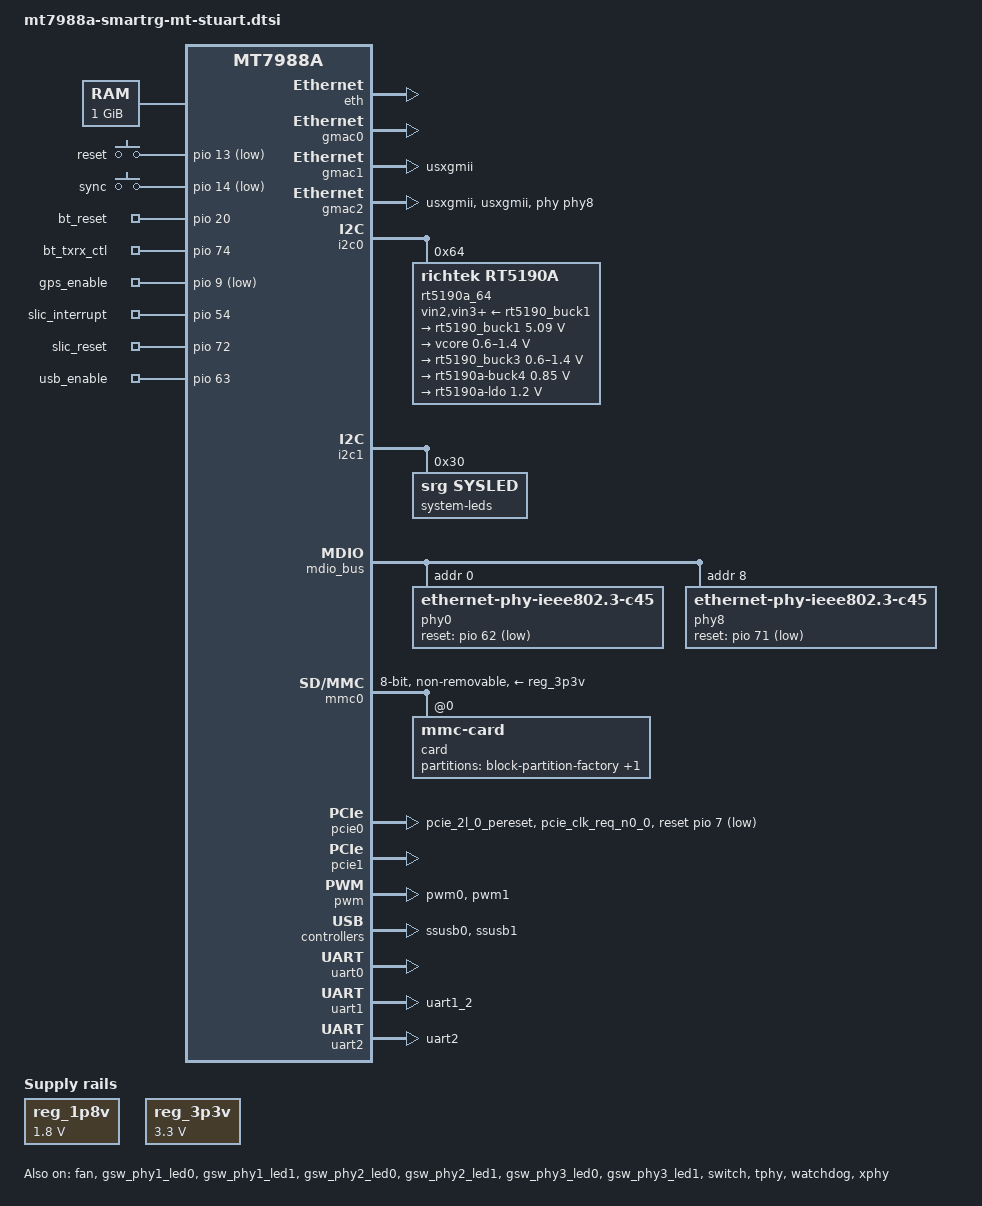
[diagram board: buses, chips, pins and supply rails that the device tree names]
// SPDX-License-Identifier: (GPL-2.0 OR MIT)
/*
 * Copyright (C) 2023 SmartRG Inc.
 * Author: Chad Monroe <chad.monroe@smartrg.com>
 */

/dts-v1/;
#include "mt7988a.dtsi"
#include <dt-bindings/gpio/gpio.h>
#include <dt-bindings/input/input.h>
#include <dt-bindings/leds/common.h>
#include <dt-bindings/pinctrl/mt65xx.h>
#include <dt-bindings/regulator/richtek,rt5190a-regulator.h>

/ {
	aliases {
		serial0 = &uart0;
		label-mac-device = &gmac1;
		led-boot = &led_sys_green;
		led-failsafe = &led_sys_blue;
		led-running = &led_sys_white;
		led-upgrade = &led_sys_red;
	};

	chosen {
		stdout-path = &uart0;
		bootargs = "console=ttyS0,115200n1 loglevel=8 pci=pcie_bus_perf root=PARTLABEL=rootfs";
	};

	memory {
		reg = <0x0 0x40000000 0x0 0x40000000>;
	};

	reserved-memory {
		#address-cells = <2>;
		#size-cells = <2>;
		ranges;

		/delete-node/ramoops@42ff0000;

		bootdata@45000000 {
			no-map;
			reg = <0x0 0x45000000 0x0 0x00001000>;
		};

		ramoops_reserved: ramoops@45001000 {
			no-map;
			compatible = "ramoops";
			reg = <0x0 0x45001000 0x0 0x00140000>;
			ftrace-size = <0x20000>;
			record-size = <0x20000>;
			console-size = <0x20000>;
			pmsg-size = <0x80000>;
		};
	};

	reg_1p8v: regulator-1p8v {
		compatible = "regulator-fixed";
		regulator-name = "fixed-1.8V";
		regulator-min-microvolt = <1800000>;
		regulator-max-microvolt = <1800000>;
		regulator-boot-on;
		regulator-always-on;
	};

	reg_3p3v: regulator-3p3v {
		compatible = "regulator-fixed";
		regulator-name = "fixed-3.3V";
		regulator-min-microvolt = <3300000>;
		regulator-max-microvolt = <3300000>;
		regulator-boot-on;
		regulator-always-on;
	};

	gpio-keys {
		compatible = "gpio-keys";
		pinctrl-names = "default";
		pinctrl-0 = <&button_pins>;

		factory {
			label = "reset";
			linux,code = <KEY_RESTART>;
			gpios = <&pio 13 GPIO_ACTIVE_LOW>;
		};

		wps {
			label = "sync";
			linux,code = <KEY_WPS_BUTTON>;
			gpios = <&pio 14 GPIO_ACTIVE_LOW>;
		};
	};

	gpio-export {
		compatible = "gpio-export";

		bluetooth_reset {
			gpio-export,name = "bt_reset";
			gpio-export,direction_may_change;
			gpios = <&pio 20 GPIO_ACTIVE_HIGH>;
		};

		bluetooth_txrx_ctl {
			gpio-export,name = "bt_txrx_ctl";
			gpio-export,direction_may_change;
			gpios = <&pio 74 GPIO_ACTIVE_HIGH>;
		};

		gps_enable {
			gpio-export,name = "gps_enable";
			gpio-export,output = <1>;
			gpios = <&pio 9 GPIO_ACTIVE_LOW>;
		};

		slic_interrupt {
			gpio-export,name = "slic_interrupt";
			gpio-export,direction_may_change;
			gpios = <&pio 54 GPIO_ACTIVE_HIGH>;
		};

		slic_reset {
			gpio-export,name = "slic_reset";
			gpio-export,output = <0>;
			gpios = <&pio 72 GPIO_ACTIVE_HIGH>;
		};

		usb_enable {
			gpio-export,name = "usb_enable";
			gpio-export,output = <1>;
			gpios = <&pio 63 GPIO_ACTIVE_HIGH>;
		};
	};
};

&cpu0 {
	proc-supply = <&rt5190_buck3>;
};

&cpu1 {
	proc-supply = <&rt5190_buck3>;
};

&cpu2 {
	proc-supply = <&rt5190_buck3>;
};

&cpu3 {
	proc-supply = <&rt5190_buck3>;
};

&cci {
	proc-supply = <&rt5190_buck3>;
};

&cpu_thermal {
	/delete-node/cooling-maps;
	/delete-node/trips;

	trips {
		cpu_trip_crit: crit {
			temperature = <125000>;
			hysteresis = <2000>;
			type = "critical";
		};

		cpu_trip_hot: hot {
			temperature = <120000>;
			hysteresis = <2000>;
			type = "hot";
		};

		cpu_trip_active_high: active-high {
			temperature = <110000>;
			hysteresis = <2000>;
			type = "active";
		};

		cpu_trip_active_med: active-med {
			temperature = <80000>;
			hysteresis = <2000>;
			type = "active";
		};

		cpu_trip_active_low: active-low {
			temperature = <60000>;
			hysteresis = <2000>;
			type = "active";
		};

		cpu_trip_active_silent: active-silent {
			temperature = <40000>;
			hysteresis = <2000>;
			type = "active";
		};
	};

	cooling-maps {
		cpu-active-high {
			/* active: set fan to cooling level 3 */
			cooling-device = <&fan 3 3>;
			trip = <&cpu_trip_active_high>;
		};

		cpu-active-med {
			/* active: set fan to cooling level 2 */
			cooling-device = <&fan 2 2>;
			trip = <&cpu_trip_active_med>;
		};

		cpu-active-low {
			/* active: set fan to cooling level 1 */
			cooling-device = <&fan 1 1>;
			trip = <&cpu_trip_active_low>;
		};

		cpu-active-silent {
			/* active: set fan to cooling level 0 */
			cooling-device = <&fan 0 0>;
			trip = <&cpu_trip_active_silent>;
		};
	};
};

&eth {
	pinctrl-0 = <&mdio0_pins>;
	pinctrl-names = "default";
	status = "okay";
};

&fan {
	pwms = <&pwm 0 40000 0>;

	/**
	 * set fan speed
	 *
	 * 0 = off
	 * 61 = 24% duty cycle
	 * 77 = 30% duty cycle
	 * 102 = 40% duty cycle
	 * 128 - 50% duty cycle
	 * 255 = 100% duty cycle
	 */
	cooling-levels = <61 77 102 128>;

	interrupt-parent = <&pio>;
	interrupts = <21 IRQ_TYPE_EDGE_FALLING>;
	pulses-per-revolution = <2>;

	status = "okay";
};

&gmac0 {
	nvmem-cells = <&macaddr 1>;
	nvmem-cell-names = "mac-address";

	status = "okay";
};

&gmac1 {
	nvmem-cells = <&macaddr 0>;
	nvmem-cell-names = "mac-address";
	label = "wan";
	phy-mode = "usxgmii";

	status = "okay";
};

&gmac2 {
	nvmem-cells = <&macaddr 1>;
	nvmem-cell-names = "mac-address";
	label = "lan1";
	phy-mode = "usxgmii";
	phy-connection-type = "usxgmii";
	phy = <&phy8>;

	status = "okay";
};

&gsw_phy0 {
	status = "disabled";
};

&gsw_phy1 {
	pinctrl-names = "gbe-led";
	pinctrl-0 = <&gbe1_led0_pins>, <&gbe1_led1_pins>;
};

&gsw_phy1_led0 {
	status = "okay";
	color = <LED_COLOR_ID_GREEN>;
};

&gsw_phy1_led1 {
	status = "okay";
	color = <LED_COLOR_ID_AMBER>;
};

&gsw_phy2 {
	pinctrl-names = "gbe-led";
	pinctrl-0 = <&gbe2_led0_pins>, <&gbe2_led1_pins>;
};

&gsw_phy2_led0 {
	status = "okay";
	color = <LED_COLOR_ID_GREEN>;
};

&gsw_phy2_led1 {
	status = "okay";
	color = <LED_COLOR_ID_AMBER>;
};

&gsw_phy3 {
	pinctrl-names = "gbe-led";
	pinctrl-0 = <&gbe3_led0_pins>, <&gbe3_led1_pins>;
};

&gsw_phy3_led0 {
	status = "okay";
	color = <LED_COLOR_ID_GREEN>;
};

&gsw_phy3_led1 {
	status = "okay";
	color = <LED_COLOR_ID_AMBER>;
};

&i2c0 {
	pinctrl-names = "default";
	pinctrl-0 = <&i2c0_pins>;
	status = "okay";

	rt5190a_64: rt5190a@64 {
		compatible = "richtek,rt5190a";
		reg = <0x64>;
		/*interrupts-extended = <&gpio26 0 IRQ_TYPE_LEVEL_LOW>;*/
		vin2-supply = <&rt5190_buck1>;
		vin3-supply = <&rt5190_buck1>;
		vin4-supply = <&rt5190_buck1>;

		regulators {
			rt5190_buck1: buck1 {
				regulator-name = "rt5190a-buck1";
				regulator-min-microvolt = <5090000>;
				regulator-max-microvolt = <5090000>;
				regulator-allowed-modes =
				<RT5190A_OPMODE_AUTO RT5190A_OPMODE_FPWM>;
				regulator-boot-on;
				regulator-always-on;
			};
			buck2 {
				regulator-name = "vcore";
				regulator-min-microvolt = <600000>;
				regulator-max-microvolt = <1400000>;
				regulator-boot-on;
				regulator-always-on;
			};
			rt5190_buck3: buck3 {
				regulator-name = "vproc";
				regulator-min-microvolt = <600000>;
				regulator-max-microvolt = <1400000>;
				regulator-boot-on;
			};
			buck4 {
				regulator-name = "rt5190a-buck4";
				regulator-min-microvolt = <850000>;
				regulator-max-microvolt = <850000>;
				regulator-allowed-modes =
				<RT5190A_OPMODE_AUTO RT5190A_OPMODE_FPWM>;
				regulator-boot-on;
				regulator-always-on;
			};
			ldo {
				regulator-name = "rt5190a-ldo";
				regulator-min-microvolt = <1200000>;
				regulator-max-microvolt = <1200000>;
				regulator-boot-on;
				regulator-always-on;
			};
		};
	};
};

&i2c1 {
	pinctrl-names = "default";
	pinctrl-0 = <&i2c1_pins>;
	status = "okay";

	system-leds {
		compatible = "srg,sysled";
		reg = <0x30>;

		led_sys_red: system_red {
			label = "red";
			reg = <1>;
		};

		led_sys_green: system_green {
			label = "green";
			reg = <2>;
		};

		led_sys_blue: system_blue {
			label = "blue";
			reg = <3>;
		};

		led_sys_white: system_white {
			label = "white";
			reg = <4>;
		};
	};
};

&mdio_bus {
	phy0: ethernet-phy@0 {
		/* AQR113C */
		compatible = "ethernet-phy-ieee802.3-c45";
		reg = <0>;

		reset-gpios = <&pio 62 GPIO_ACTIVE_LOW>;
		reset-assert-us = <100000>;
		reset-deassert-us = <1000000>;

		leds {
			#address-cells = <1>;
			#size-cells = <0>;

			led@0 {
				reg = <0>;
				function = LED_FUNCTION_WAN;
				color = <LED_COLOR_ID_GREEN>;
			};

			led@1 {
				reg = <1>;
				function = LED_FUNCTION_WAN;
				color = <LED_COLOR_ID_ORANGE>;
			};

			led@2 {
				reg = <2>;
				function = LED_FUNCTION_WAN;
				color = <LED_COLOR_ID_WHITE>;
				active-high;
			};
		};
	};

	phy8: ethernet-phy@8 {
		/* AQR113C */
		compatible = "ethernet-phy-ieee802.3-c45";
		reg = <8>;

		reset-gpios = <&pio 71 GPIO_ACTIVE_LOW>;
		reset-assert-us = <100000>;
		reset-deassert-us = <1000000>;

		leds {
			#address-cells = <1>;
			#size-cells = <0>;

			aqr_green_led: led@0 {
				reg = <0>;
				function = LED_FUNCTION_LAN;
				color = <LED_COLOR_ID_GREEN>;
			};

			aqr_orange_led: led@1 {
				reg = <1>;
				function = LED_FUNCTION_LAN;
				color = <LED_COLOR_ID_ORANGE>;
			};

			aqr_white_led: led@2 {
				reg = <2>;
				function = LED_FUNCTION_LAN;
				color = <LED_COLOR_ID_WHITE>;
				active-high;
			};
		};
	};
};

&mmc0 {
	pinctrl-names = "default", "state_uhs";
	pinctrl-0 = <&mmc0_pins_emmc_51>;
	pinctrl-1 = <&mmc0_pins_emmc_51>;
	bus-width = <8>;
	max-frequency = <200000000>;
	cap-mmc-highspeed;
	mmc-hs200-1_8v;
	vmmc-supply = <&reg_3p3v>;
	vqmmc-supply = <&reg_1p8v>;
	non-removable;
	no-sd;
	no-sdio;
	status = "okay";
	#address-cells = <1>;
	#size-cells = <0>;

	card@0 {
		#address-cells = <0>;
		#size-cells = <0>;
		compatible = "mmc-card";
		reg = <0>;

		block {
			compatible = "block-device";

			partitions {
				block-partition-factory {
					partname = "factory";

					nvmem-layout {
						compatible = "fixed-layout";
						#address-cells = <1>;
						#size-cells = <1>;

						eeprom_factory_0: eeprom@0 {
							reg = <0x0 0x1e00>;
						};
					};
				};

				block-partition-mfginfo {
					partname = "mfginfo";

					nvmem-layout {
						compatible = "adtran,mfginfo";

						macaddr: mfg-mac {
							#nvmem-cell-cells = <1>;
						};
					};
				};
			};
		};
	};
};

&pcie0 {
	pinctrl-names = "default";
	pinctrl-0 = <&pcie0_1_pins>;
	reset-gpios = <&pio 7 GPIO_ACTIVE_LOW>;
	status = "okay";

	pcie@0,0 {
		reg = <0x0000 0 0 0 0>;

		mt7996@0,0 {
			reg = <0x0000 0 0 0 0>;
			nvmem-cells = <&eeprom_factory_0>;
			nvmem-cell-names = "eeprom";
			ieee80211-freq-limit = <2400000 2500000>, <5170000 5835000>, <5945000 7125000>;

			band@0 {
				/* 2.4 GHz */
				reg = <0>;
				nvmem-cells = <&macaddr 4>;
				nvmem-cell-names = "mac-address";
			};

			band@1 {
				/* 5 GHz */
				reg = <1>;
				nvmem-cells = <&macaddr 10>;
				nvmem-cell-names = "mac-address";
			};

			band@2 {
				/* 6 GHz */
				reg = <2>;
				nvmem-cells = <&macaddr 6>;
				nvmem-cell-names = "mac-address";
			};
		};
	};
};

&pcie1 {
	pinctrl-names = "default";
	pinctrl-0 = <&pcie1_pins>;
	status = "okay";
};

&pcie2 {
	status = "disabled";
};

&pcie3 {
	status = "disabled";
};

&pio {
	button_pins: button-pins {
		pins = "GPIO_RESET", "GPIO_WPS";
		mediatek,pull-down-adv = <0>; /* bias-disable */
	};

	pcie0_1_pins: pcie0-pins-g1 {
		mux {
			function = "pcie";
			groups = "pcie_2l_0_pereset", "pcie_clk_req_n0_0";
		};
	};

	pwm_pins: pwm-pins {
		mux {
			function = "pwm";
			groups = "pwm0", "pwm1";
		};
	};

	sfp_i2c_pins: sfp-i2c-pins {
		conf-scl {
			pins = "LED_A";
			drive-strength =  <8>;
			mediatek,pull-up-adv = <1>;
		};
		conf-sda {
			pins = "LED_E";
			drive-strength =  <8>;
			mediatek,pull-up-adv = <0>;
		};
	};

	uart1_pins: uart1-pins {
		mux {
			function = "uart";
			groups = "uart1_2";
		};
	};

	uart2_pins: uart2-pins {
		mux {
			function = "uart";
			groups = "uart2";
		};
	};
};

&pwm {
	pinctrl-names = "default";
	pinctrl-0 = <&pwm_pins>;
	status = "okay";
};

&spi0 {
	pinctrl-names = "default";
	pinctrl-0 = <&spi0_flash_pins>;
	status = "disabled";

	spi_nand: spi_nand@0 {
		compatible = "spi-nand";
		reg = <0>;
		spi-max-frequency = <52000000>;
		spi-tx-buswidth = <4>;
		spi-rx-buswidth = <4>;
	};

};

&ssusb0 {
	status = "okay";
};

&ssusb1 {
	status = "okay";
};

&switch {
	status = "okay";

	ports {
		port@0 {
			status = "disabled";
		};

		port@1 {
			label = "lan2";
		};

		port@2 {
			label = "lan3";
		};

		port@3 {
			label = "lan4";
		};
	};
};

&tphy {
	status = "okay";
};

&uart0 {
	status = "okay";
};

&uart1 {
	pinctrl-names = "default";
	pinctrl-0 = <&uart1_pins>;
	status = "okay";

	/* Airoha AG3352 GPS */
};

&uart2 {
	pinctrl-names = "default";
	pinctrl-0 = <&uart2_pins>;
	status = "okay";

	/* DA14531MOD Bluetooth */
};

&watchdog {
	status = "okay";
};

&xphy {
	status = "okay";
};
